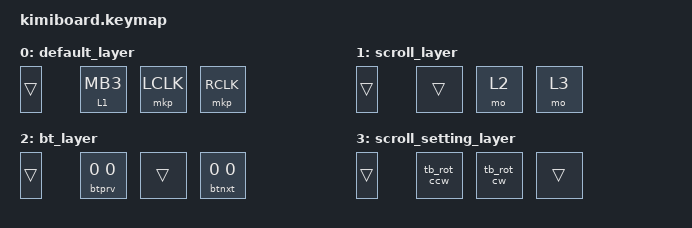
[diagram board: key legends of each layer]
#include <behaviors.dtsi>
#include <dt-bindings/zmk/bt.h>
#include <dt-bindings/zmk/keys.h>
#include <dt-bindings/zmk/mouse.h>
#include <behaviors/rgbled_widget.dtsi>
#include <dt-bindings/zmk/kimiboard.h>

&trackball {
    scroll-layers = <1>;
};

/ {
    keymap {
        compatible = "zmk,keymap";

        default_layer {
            bindings = <
                &trans  &lt_mkp 1 MB3  &mkp LCLK  &mkp RCLK
            >;
        };

        scroll_layer {
            bindings = <
                &trans  &trans  &mo 2  &mo 3
            >;
        };

        bt_layer {
            bindings = <
				&trans
				&btprv 0 0
				&trans
				&btnxt 0 0
            >;
        };

		scroll_setting_layer {
            bindings = <
                &trans  &tb_rot_ccw  &tb_rot_cw  &trans
            >;
        };
    };
};
